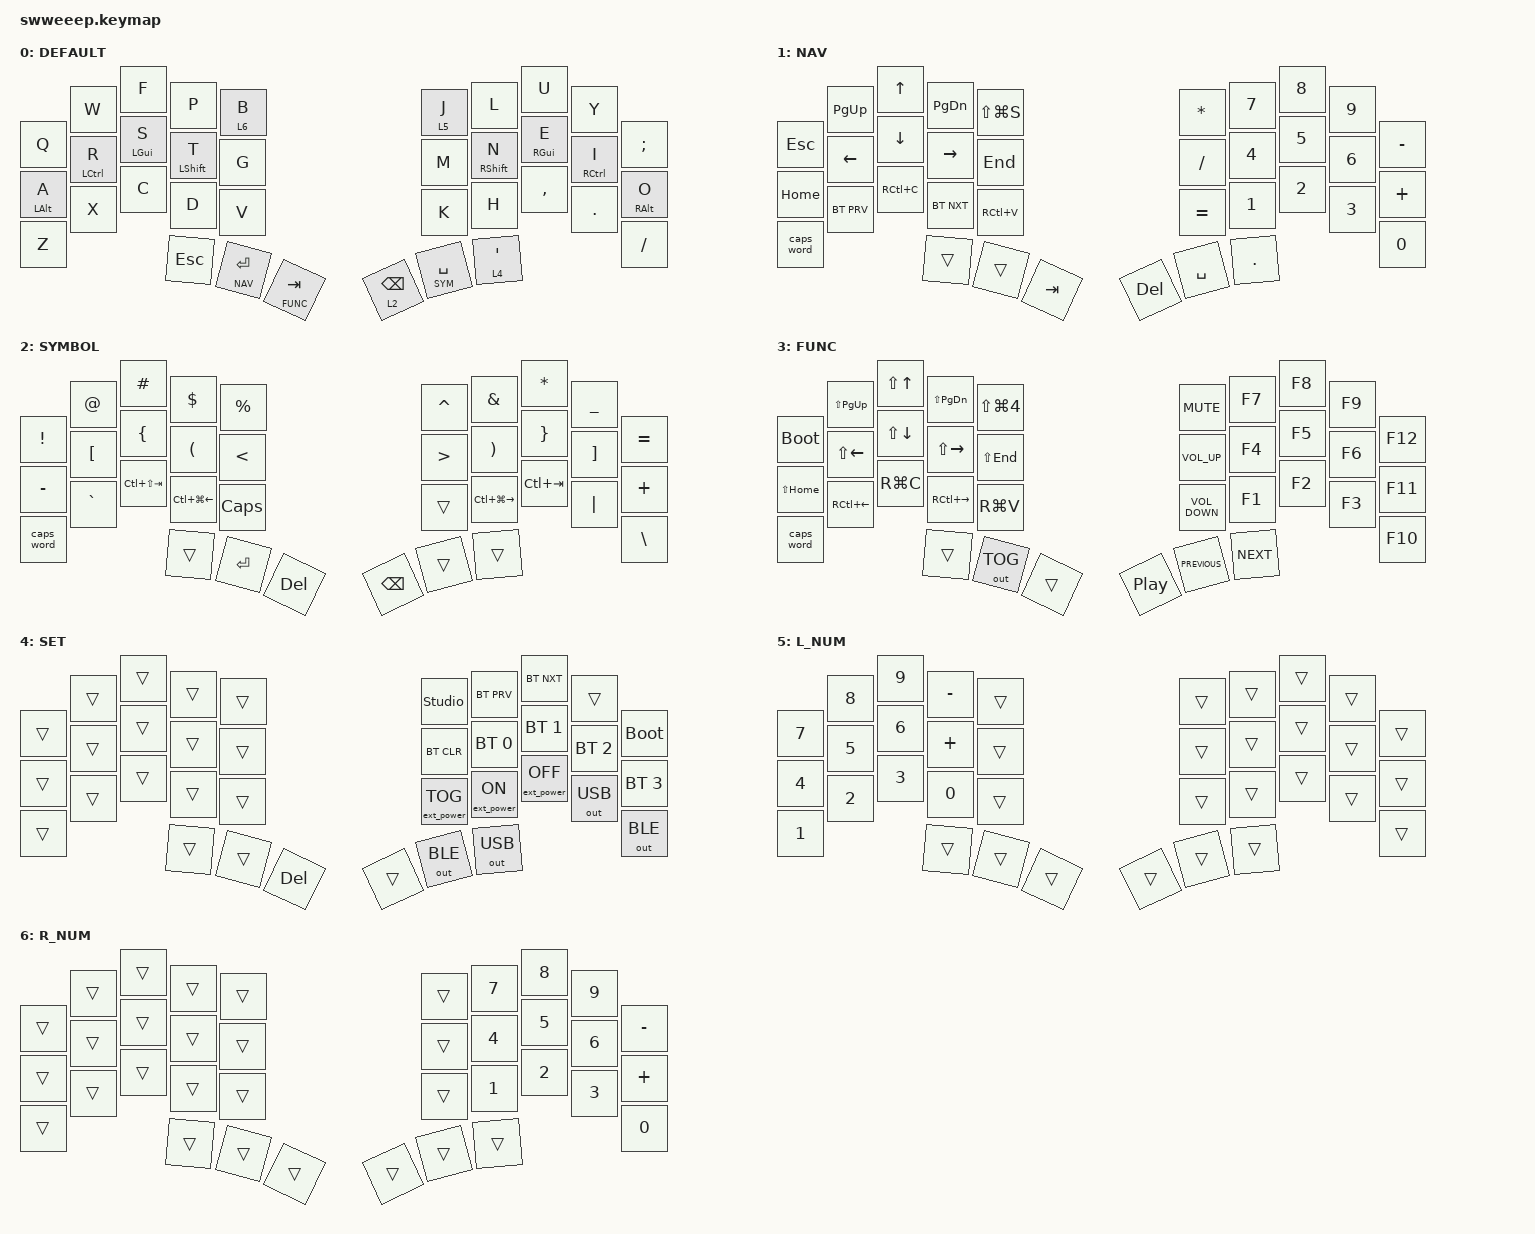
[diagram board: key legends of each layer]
#include <behaviors.dtsi>
#include <dt-bindings/zmk/bt.h>
#include <dt-bindings/zmk/ext_power.h>
#include <dt-bindings/zmk/keys.h>
#include <dt-bindings/zmk/outputs.h>

#define DEFAULT 0
#define NAV     1
#define SYM     2
#define FUNC    3
#define MEDIA   4
#define NUMLFT  5
#define NUMRHT  6

&caps_word { continue-list = <UNDERSCORE MINUS>; };
&lt { quick-tap-ms = <175>; };

/ {
    combos {
        compatible = "zmk,combos";

        combo_undo {
            timeout-ms = <50>;
            key-positions = <20 21>;
            bindings = <&kp LC(Z)>;
        };
    };
};

/ {
    behaviors {
        hm: homerow_mods {
            compatible = "zmk,behavior-hold-tap";
            #binding-cells = <2>;
            tapping-term-ms = <300>;
            flavor = "balanced";
            bindings = <&kp>, <&kp>;
            quick-tap-ms = <175>;
            require-prior-idle-ms = <150>;
            hold-trigger-on-release;
        };

        hs: homerow_shift {
            compatible = "zmk,behavior-hold-tap";
            #binding-cells = <2>;
            tapping-term-ms = <200>;
            flavor = "balanced";
            bindings = <&kp>, <&kp>;
            quick-tap-ms = <175>;
            require-prior-idle-ms = <150>;
            hold-trigger-on-release;
        };
    };

    keymap {
        compatible = "zmk,keymap";

        default_layer {
            bindings = <
&kp Q           &kp W               &kp F       &kp P         &lt 6 B                &lt 5 J    &kp L         &kp U            &kp Y                &kp SEMI
&hm LEFT_ALT A  &hm LEFT_CONTROL R  &hm LGUI S  &hs LSHIFT T  &kp G                  &kp M      &hs RSHIFT N  &hm RIGHT_GUI E  &hm RIGHT_CONTROL I  &hm RIGHT_ALT O
&kp Z           &kp X               &kp C       &kp D         &kp V    &kp K  &kp H  &kp COMMA  &kp DOT       &kp FSLH         &kp ESCAPE           &lt NAV RET
&lt FUNC TAB                                                                                                                                        &lt 2 BSPC
&lt SYM SPACE                                                                                                                                       &lt 4 SQT
            >;

            label = "DEFAULT";
        };

        nav_layer {
            bindings = <
&kp ESC     &kp PG_UP   &kp UP     &kp PG_DN   &kp LS(LG(S))                     &kp ASTRK  &kp N7  &kp N8  &kp N9  &kp MINUS
&kp HOME    &kp LEFT    &kp DOWN   &kp RIGHT   &kp END                           &kp FSLH   &kp N4  &kp N5  &kp N6  &kp PLUS
&caps_word  &bt BT_PRV  &kp RC(C)  &bt BT_NXT  &kp RC(V)      &kp EQUAL  &kp N1  &kp N2     &kp N3  &kp N0  &trans  &trans
&kp TAB                                                                                                             &kp DELETE
&kp SPACE                                                                                                           &kp DOT
            >;

            label = "NAV";
        };

        sym_layer {
            bindings = <
&kp EXCL    &kp AT     &kp HASH         &kp DLLR          &kp PRCNT                             &kp CARET    &kp AMPS  &kp ASTRK  &kp UNDER  &kp EQUAL
&kp MINUS   &kp LBKT   &kp LBRC         &kp LPAR          &kp LT                                &kp GT       &kp RPAR  &kp RBRC   &kp RBKT   &kp PLUS
&caps_word  &kp GRAVE  &kp LC(LS(TAB))  &kp LC(LG(LEFT))  &kp CAPS   &trans  &kp LC(LG(RIGHT))  &kp LC(TAB)  &kp PIPE  &kp BSLH   &trans     &kp RET
&kp DEL                                                                                                                                      &kp BSPC
&trans                                                                                                                                       &trans
            >;

            label = "SYMBOL";
        };

        func_layer {
            bindings = <
&bootloader     &kp LS(PG_UP)       &kp LS(UP)    &kp LS(PG_DN)        &kp LS(LG(NUMBER_4))                             &kp C_MUTE       &kp F7  &kp F8   &kp F9  &kp F12
&kp LS(HOME)    &kp LS(LEFT)        &kp LS(DOWN)  &kp LS(RIGHT)        &kp LS(END)                                      &kp C_VOLUME_UP  &kp F4  &kp F5   &kp F6  &kp F11
&caps_word      &kp RC(LEFT_ARROW)  &kp RG(C)     &kp RC(RIGHT_ARROW)  &kp RG(V)             &kp C_VOLUME_DOWN  &kp F1  &kp F2           &kp F3  &kp F10  &trans  &out OUT_TOG
&trans                                                                                                                                                            &kp C_PLAY_PAUSE
&kp C_PREVIOUS                                                                                                                                                    &kp C_NEXT
            >;

            label = "FUNC";
        };

        setting_layer {
            bindings = <
&trans        &trans  &trans  &trans  &trans                                       &studio_unlock     &bt BT_PRV    &bt BT_NXT    &trans        &bootloader
&trans        &trans  &trans  &trans  &trans                                       &bt BT_CLR         &bt BT_SEL 0  &bt BT_SEL 1  &bt BT_SEL 2  &bt BT_SEL 3
&trans        &trans  &trans  &trans  &trans  &ext_power EP_TOG  &ext_power EP_ON  &ext_power EP_OFF  &out OUT_USB  &out OUT_BLE  &trans        &trans
&kp DEL                                                                                                                                         &trans
&out OUT_BLE                                                                                                                                    &out OUT_USB
            >;

            label = "SET";
        };

        numlft_layer {
            bindings = <
&kp N7  &kp N8  &kp N9  &kp MINUS  &trans                  &trans  &trans  &trans  &trans  &trans
&kp N4  &kp N5  &kp N6  &kp PLUS   &trans                  &trans  &trans  &trans  &trans  &trans
&kp N1  &kp N2  &kp N3  &kp N0     &trans  &trans  &trans  &trans  &trans  &trans  &trans  &trans
&trans                                                                                     &trans
&trans                                                                                     &trans
            >;

            label = "L_NUM";
        };

        numrht_layer {
            bindings = <
&trans  &trans  &trans  &trans  &trans                  &trans  &kp N7  &kp N8  &kp N9  &kp MINUS
&trans  &trans  &trans  &trans  &trans                  &trans  &kp N4  &kp N5  &kp N6  &kp PLUS
&trans  &trans  &trans  &trans  &trans  &trans  &kp N1  &kp N2  &kp N3  &kp N0  &trans  &trans
&trans                                                                                  &trans
&trans                                                                                  &trans
            >;

            label = "R_NUM";
        };
    };
};
